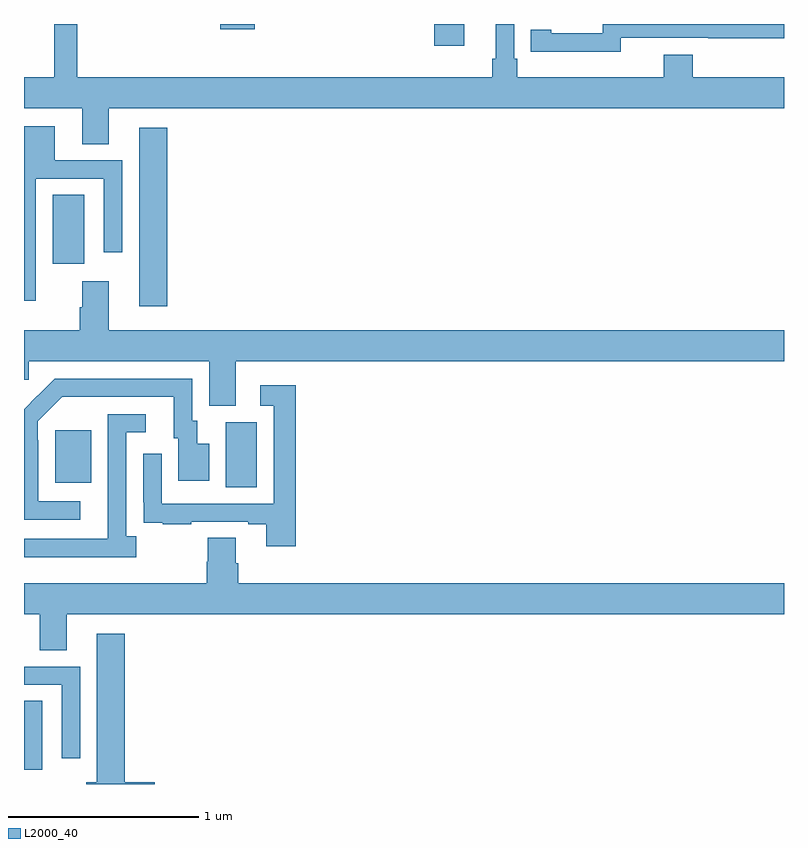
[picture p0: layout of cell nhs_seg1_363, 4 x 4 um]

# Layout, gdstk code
import gdstk
lib = gdstk.Library(unit=1e-6, precision=1e-09)
def R(c, l, rs):  # rectangles x0, y0, x1, y1
    for r in rs: c.add(gdstk.rectangle(r[:2], r[2:], *l))
def P(c, l, *ps):  # polygons
    for p in ps: c.add(gdstk.Polygon(p, *l))
L2000_40 = (2000, 40)

nhs_seg1_363 = lib.new_cell('nhs_seg1_363')
R(nhs_seg1_363, L2000_40, [(131,524.274,131.095,524.636), (132.062,525.76,132.226,526.104), (131.165,525.785,131.353,526.06), (131.606,526.713,131.753,527.653), (131.15,526.938,131.317,527.3), (133.16,528.084,133.318,528.199), (132.032,528.171,132.215,528.199)])
P(nhs_seg1_363, L2000_40, [(131.446,527.756),(135,527.756),(135,527.92),(134.519,527.92),(134.519,528.037),(134.366,528.037),(134.366,527.92),(133.595,527.92),(133.595,528.016),(133.581,528.016),(133.581,528.199),(133.484,528.199),(133.484,528.016),(133.465,528.016),(133.465,527.92),(131.281,527.92),(131.281,528.199),(131.159,528.199),(131.159,527.92),(131,527.92),(131,527.756),(131.306,527.756),(131.306,527.566),(131.446,527.566)],
  [(134.142,528.126),(134.602,528.126),(134.602,528.125),(135,528.125),(135,528.199),(134.046,528.199),(134.046,528.15),(133.774,528.15),(133.774,528.17),(133.666,528.17),(133.666,528.054),(133.774,528.054),(133.774,528.053),(134.142,528.053)],
  [(131.061,527.385),(131.421,527.385),(131.421,526.998),(131.517,526.998),(131.517,527.481),(131.161,527.481),(131.161,527.662),(131,527.662),(131,526.742),(131.061,526.742)],
  [(132.115,526.424),(135,526.424),(135,526.588),(131.446,526.588),(131.446,526.846),(131.306,526.846),(131.306,526.709),(131.294,526.709),(131.294,526.588),(131,526.588),(131,526.326),(131.025,526.326),(131.025,526.424),(131.975,526.424),(131.975,526.189),(132.115,526.189)],
  [(131.296,525.687),(131.076,525.687),(131.076,526.007),(131.073,526.007),(131.073,526.107),(131.202,526.236),(131.789,526.236),(131.789,526.02),(131.813,526.02),(131.813,525.795),(131.974,525.795),(131.974,525.991),(131.911,525.991),(131.911,526.11),(131.886,526.11),(131.886,526.332),(131.162,526.332),(131.071,526.241),(131.07,526.242),(131,526.171),(131,525.591),(131.296,525.591)],
  [(132.431,526.297),(132.243,526.297),(132.243,526.191),(132.315,526.191),(132.315,525.675),(131.724,525.675),(131.724,525.937),(131.628,525.937),(131.628,525.682),(131.629,525.682),(131.629,525.573),(131.731,525.573),(131.731,525.567),(131.879,525.567),(131.879,525.579),(132.179,525.579),(132.179,525.567),(132.275,525.567),(132.275,525.45),(132.431,525.45)],
  [(131.59,525.502),(131.538,525.502),(131.538,526.05),(131.641,526.05),(131.641,526.146),(131.442,526.146),(131.442,525.689),(131.441,525.689),(131.441,525.489),(131,525.489),(131,525.392),(131.59,525.392)],
  [(131.224,525.092),(135,525.092),(135,525.256),(132.128,525.256),(132.128,525.362),(132.115,525.362),(132.115,525.494),(131.968,525.494),(131.968,525.369),(131.963,525.369),(131.963,525.256),(131,525.256),(131,525.092),(131.084,525.092),(131.084,524.902),(131.224,524.902)],
  [(131.689,524.207),(131.531,524.207),(131.531,524.989),(131.384,524.989),(131.384,524.207),(131.328,524.207),(131.328,524.199),(131.689,524.199)],
  [(131.295,524.817),(131,524.817),(131,524.721),(131.199,524.721),(131.199,524.334),(131.295,524.334)])

lib.write_gds('nhs_seg1_363.gds')
